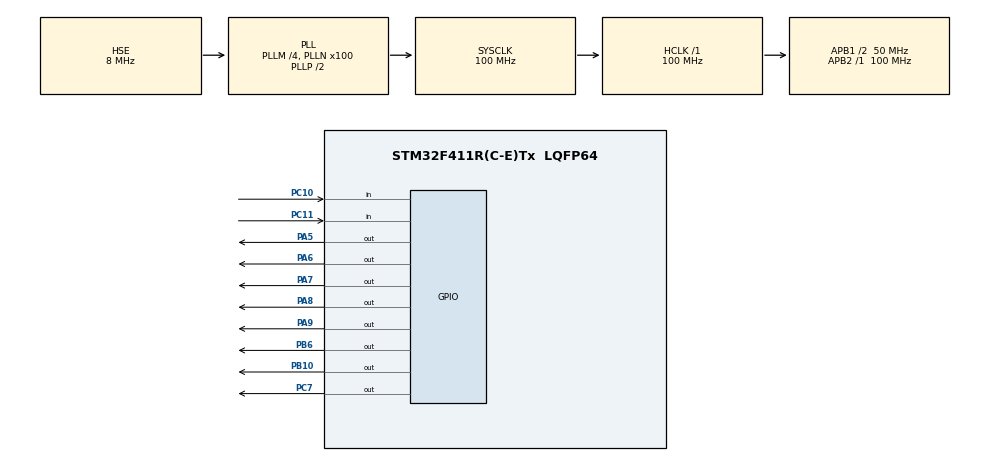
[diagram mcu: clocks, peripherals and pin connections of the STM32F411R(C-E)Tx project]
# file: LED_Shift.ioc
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Mcu.Family=STM32F4
Mcu.Name=STM32F411R(C-E)Tx
Mcu.Package=LQFP64
NVIC.PriorityGroup=NVIC_PRIORITYGROUP_4
PA13.Mode=Serial_Wire
PA13.Signal=SYS_JTMS-SWDIO
PA14.Mode=Serial_Wire
PA14.Signal=SYS_JTCK-SWCLK
PA5.PinState=GPIO_PIN_SET
PA5.Signal=GPIO_Output
PA6.PinState=GPIO_PIN_SET
PA6.Signal=GPIO_Output
PA7.PinState=GPIO_PIN_SET
PA7.Signal=GPIO_Output
PA8.PinState=GPIO_PIN_SET
PA8.Signal=GPIO_Output
PA9.PinState=GPIO_PIN_SET
PA9.Signal=GPIO_Output
PB10.PinState=GPIO_PIN_SET
PB10.Signal=GPIO_Output
PB6.PinState=GPIO_PIN_SET
PB6.Signal=GPIO_Output
PC10.Signal=GPIO_Input
PC11.Signal=GPIO_Input
PC7.PinState=GPIO_PIN_SET
PC7.Signal=GPIO_Output
PH0\ -\ OSC_IN.Mode=HSE-External-Oscillator
PH0\ -\ OSC_IN.Signal=RCC_OSC_IN
PH1\ -\ OSC_OUT.Mode=HSE-External-Oscillator
PH1\ -\ OSC_OUT.Signal=RCC_OSC_OUT
ProjectManager.HeapSize=0x200
ProjectManager.StackSize=0x400
ProjectManager.TargetToolchain=STM32CubeIDE
RCC.48MHZClocksFreq_Value=50000000
RCC.AHBFreq_Value=100000000
RCC.APB1CLKDivider=RCC_HCLK_DIV2
RCC.APB1Freq_Value=50000000
RCC.APB1TimFreq_Value=100000000
RCC.APB2Freq_Value=100000000
RCC.APB2TimFreq_Value=100000000
RCC.CortexFreq_Value=100000000
RCC.HCLKFreq_Value=100000000
RCC.HSE_VALUE=8000000
RCC.HSI_VALUE=16000000
RCC.LSE_VALUE=32768
RCC.PLLM=4
RCC.PLLN=100
RCC.PLLSourceVirtual=RCC_PLLSOURCE_HSE
RCC.SYSCLKFreq_VALUE=100000000
RCC.SYSCLKSource=RCC_SYSCLKSOURCE_PLLCLK
RCC.VCOOutputFreq_Value=200000000
board=custom

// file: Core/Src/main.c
/* USER CODE BEGIN Header */
/**
  ******************************************************************************
  * @file           : main.c
  * @brief          : Main program body
  ******************************************************************************
  * @attention
  *
  * Copyright (c) 2023 STMicroelectronics.
  * All rights reserved.
  *
  * This software is licensed under terms that can be found in the LICENSE file
  * in the root directory of this software component.
  * If no LICENSE file comes with this software, it is provided AS-IS.
  *
  ******************************************************************************
  */
/* USER CODE END Header */
#include "main.h"
#include "gpio.h"

/* USER CODE BEGIN Includes */
#include "Button.h"
/* USER CODE END Includes */

void SystemClock_Config(void);

int main(void)
{
  /* USER CODE BEGIN 1 */
  Button shift;
  /* USER CODE END 1 */

  /* MCU Configuration--------------------------------------------------------*/

  /* Reset of all peripherals, Initializes the Flash interface and the Systick. */
  HAL_Init();

  /* USER CODE BEGIN Init */
  Button_Init(&shift, GPIOC, GPIO_PIN_10);
  /* USER CODE END Init */

  /* Configure the system clock */
  SystemClock_Config();

  /* Initialize all configured peripherals */
  MX_GPIO_Init();
  /* USER CODE BEGIN 2 */

  GPIO_TypeDef *led2_GPIO[8] =
      {
	  GPIOA, GPIOA, GPIOA, GPIOB,
	  GPIOC, GPIOA, GPIOA, GPIOB
      };
  uint16_t led2_GPIO_PIN[8] =
      {
	  GPIO_PIN_5, GPIO_PIN_6, GPIO_PIN_7, GPIO_PIN_6,
	  GPIO_PIN_7, GPIO_PIN_9, GPIO_PIN_8, GPIO_PIN_10
      };
  uint8_t state = 0;
  /* USER CODE END 2 */

  /* Infinite loop */
  while (1)
  {

    /* USER CODE BEGIN 3 */
    if(Button_getState(&shift) == ACT_PUSH)
    {
      state = (state+1)%3;
      HAL_Delay(100);
    }
    switch(state)
    {
      case 0:
	for(int i=0; i<8; i++)
	{
	  HAL_GPIO_WritePin(led2_GPIO[i], led2_GPIO_PIN[i], 1);
	  HAL_Delay(150);
	  HAL_GPIO_WritePin(led2_GPIO[i], led2_GPIO_PIN[i], 0);
	  if(Button_getState(&shift) == ACT_PUSH)
	  {
	    state = (state+1)%3;
	    HAL_Delay(100);
	  }
	}
	break;
      case 1:
	for(int i=7; i>=0; i--)
	{
	  HAL_GPIO_WritePin(led2_GPIO[i], led2_GPIO_PIN[i], 1);
	  HAL_Delay(150);
	  HAL_GPIO_WritePin(led2_GPIO[i], led2_GPIO_PIN[i], 0);
	  if(Button_getState(&shift) == ACT_PUSH)
	  {
	    state = (state+1)%3;
	    HAL_Delay(100);
	  }
	}
	break;
      case 2:
	for(int i=0; i<8; i++)
	{
	  HAL_GPIO_WritePin(led2_GPIO[i], led2_GPIO_PIN[i], 1);
	  HAL_Delay(150);
	  HAL_GPIO_WritePin(led2_GPIO[i], led2_GPIO_PIN[i], 0);
	  if(Button_getState(&shift) == ACT_PUSH)
	  {
	    state = (state+1)%3;
	    HAL_Delay(100);
	  }
	}
	for(int i=7; i>=0; i--)
	{
	  HAL_GPIO_WritePin(led2_GPIO[i], led2_GPIO_PIN[i], 1);
	  HAL_Delay(150);
	  HAL_GPIO_WritePin(led2_GPIO[i], led2_GPIO_PIN[i], 0);
	  if(Button_getState(&shift) == ACT_PUSH)
	  {
	    state = (state+1)%3;
	    HAL_Delay(100);
	  }
	}
	break;
    }

  }
  /* USER CODE END 3 */
}

void SystemClock_Config(void)
{
  RCC_OscInitTypeDef RCC_OscInitStruct = {0};
  RCC_ClkInitTypeDef RCC_ClkInitStruct = {0};

  /** Configure the main internal regulator output voltage
  */
  __HAL_RCC_PWR_CLK_ENABLE();
  __HAL_PWR_VOLTAGESCALING_CONFIG(PWR_REGULATOR_VOLTAGE_SCALE1);

  /** Initializes the RCC Oscillators according to the specified parameters
  * in the RCC_OscInitTypeDef structure.
  */
  RCC_OscInitStruct.OscillatorType = RCC_OSCILLATORTYPE_HSE;
  RCC_OscInitStruct.HSEState = RCC_HSE_ON;
  RCC_OscInitStruct.PLL.PLLState = RCC_PLL_ON;
  RCC_OscInitStruct.PLL.PLLSource = RCC_PLLSOURCE_HSE;
  RCC_OscInitStruct.PLL.PLLM = 4;
  RCC_OscInitStruct.PLL.PLLN = 100;
  RCC_OscInitStruct.PLL.PLLP = RCC_PLLP_DIV2;
  RCC_OscInitStruct.PLL.PLLQ = 4;
  if (HAL_RCC_OscConfig(&RCC_OscInitStruct) != HAL_OK)
  {
    Error_Handler();
  }

  /** Initializes the CPU, AHB and APB buses clocks
  */
  RCC_ClkInitStruct.ClockType = RCC_CLOCKTYPE_HCLK|RCC_CLOCKTYPE_SYSCLK
                              |RCC_CLOCKTYPE_PCLK1|RCC_CLOCKTYPE_PCLK2;
  RCC_ClkInitStruct.SYSCLKSource = RCC_SYSCLKSOURCE_PLLCLK;
  RCC_ClkInitStruct.AHBCLKDivider = RCC_SYSCLK_DIV1;
  RCC_ClkInitStruct.APB1CLKDivider = RCC_HCLK_DIV2;
  RCC_ClkInitStruct.APB2CLKDivider = RCC_HCLK_DIV1;

  if (HAL_RCC_ClockConfig(&RCC_ClkInitStruct, FLASH_LATENCY_3) != HAL_OK)
  {
    Error_Handler();
  }
}

void Error_Handler(void)
{
  __disable_irq();
  while (1)
  {
  }
}
